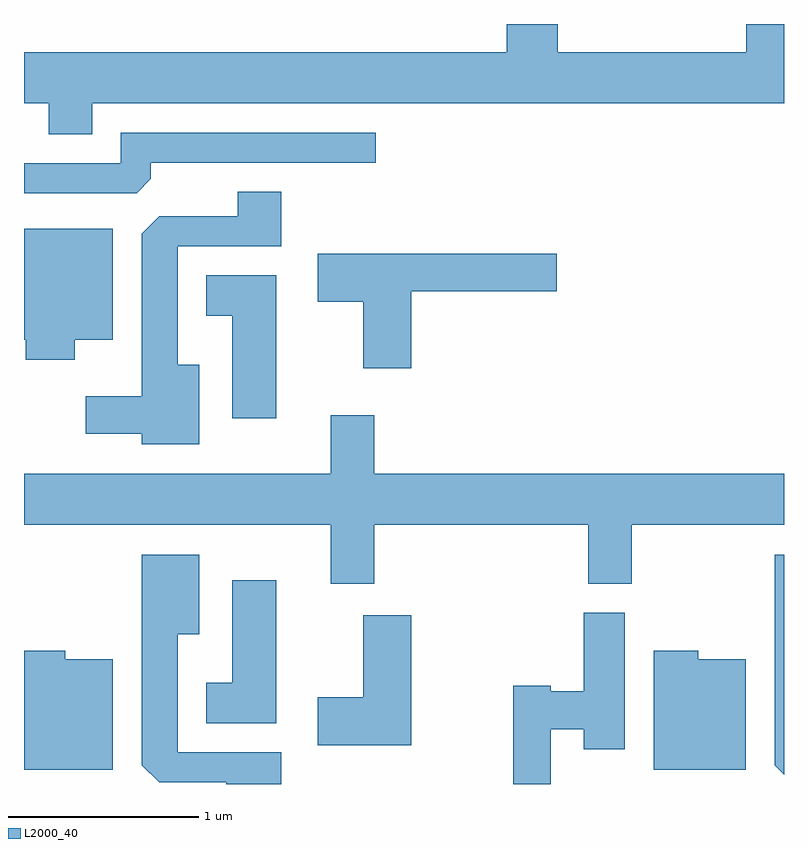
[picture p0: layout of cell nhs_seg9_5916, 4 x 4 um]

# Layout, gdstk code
import gdstk
lib = gdstk.Library(unit=1e-6, precision=1e-09)
def P(c, l, *ps):  # polygons
    for p in ps: c.add(gdstk.Polygon(p, *l))
L2000_40 = (2000, 40)

nhs_seg9_5916 = lib.new_cell('nhs_seg9_5916')
P(nhs_seg9_5916, L2000_40, [(359.969,2014.016),(363.611,2014.016),(363.611,2014.432),(363.411,2014.432),(363.411,2014.284),(362.419,2014.284),(362.419,2014.432),(362.151,2014.432),(362.151,2014.284),(359.611,2014.284),(359.611,2014.016),(359.741,2014.016),(359.741,2013.851),(359.969,2013.851)],
  [(360.279,2013.617),(360.279,2013.701),(361.463,2013.701),(361.463,2013.859),(360.121,2013.859),(360.121,2013.699),(359.611,2013.699),(359.611,2013.541),(360.204,2013.541)],
  [(360.534,2012.639),(360.419,2012.639),(360.419,2013.261),(360.964,2013.261),(360.964,2013.549),(360.736,2013.549),(360.736,2013.419),(360.322,2013.419),(360.231,2013.329),(360.231,2012.474),(359.936,2012.474),(359.936,2012.276),(360.231,2012.276),(360.231,2012.221),(360.534,2012.221)],
  [(359.879,2012.771),(360.079,2012.771),(360.079,2013.354),(359.611,2013.354),(359.611,2012.771),(359.621,2012.771),(359.621,2012.666),(359.879,2012.666)],
  [(361.649,2013.026),(362.414,2013.026),(362.414,2013.224),(361.156,2013.224),(361.156,2012.971),(361.396,2012.971),(361.396,2012.621),(361.649,2012.621)],
  [(360.939,2013.109),(360.571,2013.109),(360.571,2012.896),(360.706,2012.896),(360.706,2012.356),(360.939,2012.356)],
  [(361.454,2011.796),(362.581,2011.796),(362.581,2011.486),(362.809,2011.486),(362.809,2011.796),(363.611,2011.796),(363.611,2012.064),(361.454,2012.064),(361.454,2012.374),(361.226,2012.374),(361.226,2012.064),(359.611,2012.064),(359.611,2011.796),(361.226,2011.796),(361.226,2011.486),(361.454,2011.486)],
  [(360.964,2010.599),(360.419,2010.599),(360.419,2011.221),(360.534,2011.221),(360.534,2011.639),(360.231,2011.639),(360.231,2010.532),(360.322,2010.441),(360.676,2010.441),(360.676,2010.432),(360.964,2010.432)],
  [(363.611,2011.639),(363.561,2011.639),(363.561,2010.532),(363.611,2010.482)],
  [(360.939,2011.504),(360.706,2011.504),(360.706,2010.964),(360.571,2010.964),(360.571,2010.751),(360.939,2010.751)],
  [(362.384,2010.721),(362.556,2010.721),(362.556,2010.616),(362.774,2010.616),(362.774,2011.334),(362.556,2011.334),(362.556,2010.919),(362.384,2010.919),(362.384,2010.949),(362.186,2010.949),(362.186,2010.432),(362.384,2010.432)],
  [(361.649,2011.319),(361.396,2011.319),(361.396,2010.889),(361.156,2010.889),(361.156,2010.636),(361.649,2010.636)],
  [(363.409,2011.089),(363.159,2011.089),(363.159,2011.134),(362.926,2011.134),(362.926,2010.506),(363.409,2010.506)],
  [(360.079,2011.089),(359.829,2011.089),(359.829,2011.134),(359.611,2011.134),(359.611,2010.506),(360.079,2010.506)])

lib.write_gds('nhs_seg9_5916.gds')
